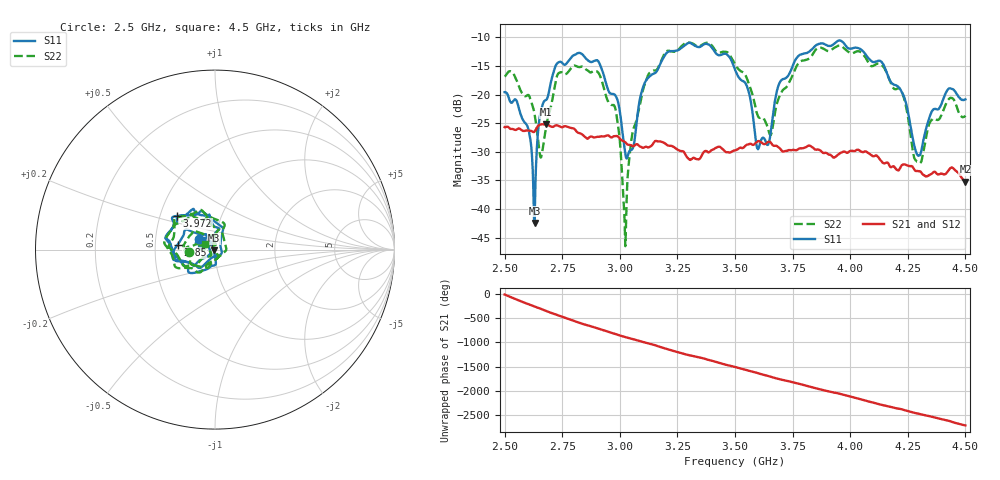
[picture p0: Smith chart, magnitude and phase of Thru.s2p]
!Keysight Technologies N9918A: A.08.19
!Date: Monday, 03 March 2025 16:43:39
!Timezone: (GMT-06:00) Guadalajara, Mexico City, Monterrey
!Model: N9918A
!Serial: MY53103234
!GPS Latitude:
!GPS Longitude:
!GPS TimeStamp: 0001-01-01 00:00:00Z
!GPS Seconds Since Last Read: 0
!CHECKSUM:0570950137
!Correction: S11(ON U)S21(ON U)S12(ON U)S22(ON U)
!S2P File: Measurements:S11,S21,S12,S22:
# Hz S DB R 50
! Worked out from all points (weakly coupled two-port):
!   1001 points, 2.5 GHz to 4.5 GHz, reference 50 ohm
!   highest |S21| = -25.15 dB at 2.68 GHz (marker M1); lowest = -35.2 dB at 4.5 GHz (marker M2)
!   lowest |S11| = -42.4 dB at 2.63 GHz (marker M3), VSWR 1.02, Z = 49.4 - j0.428 ohm
!   |S11| at or under -10 dB: start of sweep to end of sweep
!   |S22| runs from -46.5 to -10.9 dB; largest |S21 - S12| = 0.001
!   S11 on the Smith chart (normalised r, x): 2.5 GHz: 0.83, +0.10; 2.85 GHz: 0.65, +0.04; 3.972 GHz: 0.61, +0.25; 4.5 GHz: 0.86, +0.09
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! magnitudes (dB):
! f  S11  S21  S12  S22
! 2.5 GHz  -19.6  -25.7  -25.8  -16.8
! 2.6 GHz  -25.6  -26.3  -26.2  -20.1
! 2.63 GHz  -42.4  -26.4  -26.4  -23.4
! 2.656 GHz  -23.1  -25.2  -25.3  -31.0
! 2.68 GHz  -20.9  -25.1  -25.2  -25.6
! 2.734 GHz  -14.3  -25.4  -25.4  -16.3
! 2.834 GHz  -12.8  -26.9  -26.9  -15.1
! 2.85 GHz  -13.5  -27.4  -27.5  -15.5
! 2.98 GHz  -20.1  -27.3  -27.3  -22.3
! 3.022 GHz  -29.8  -28.3  -28.3  -44.0
! 3.06 GHz  -28.9  -29.0  -29.1  -25.9
! 3.168 GHz  -15.3  -28.2  -28.2  -15.1
! 3.5 GHz  -15.6  -29.7  -29.8  -14.7
! 3.602 GHz  -29.4  -28.1  -28.2  -23.9
! 3.656 GHz  -26.3  -28.4  -28.4  -27.0
! 3.694 GHz  -17.9  -29.4  -29.4  -20.2
! 3.834 GHz  -12.1  -29.1  -29.2  -13.2
! 3.972 GHz  -11.0  -29.9  -29.9  -11.8
! 4.168 GHz  -17.2  -32.2  -32.3  -17.1
! 4.294 GHz  -30.6  -33.4  -33.4  -31.8
! 4.428 GHz  -18.9  -33.2  -33.2  -20.7
! 4.5 GHz  -20.8  -35.2  -35.3  -23.7
